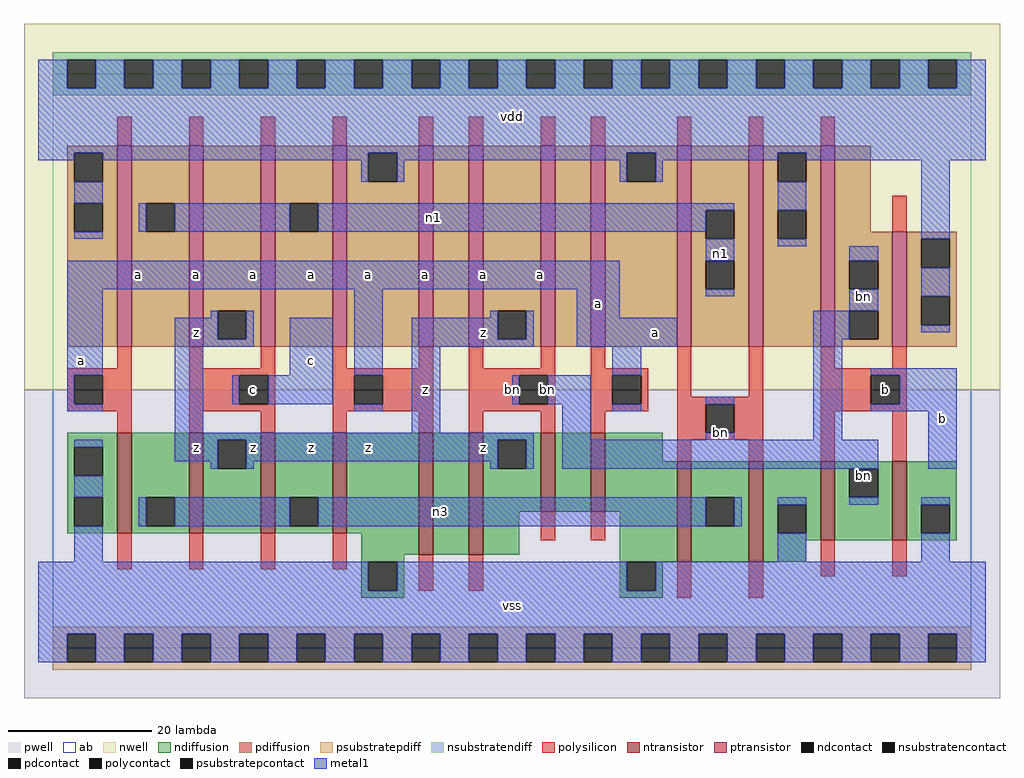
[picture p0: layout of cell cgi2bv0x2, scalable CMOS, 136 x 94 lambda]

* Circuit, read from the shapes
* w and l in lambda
.subckt cgi2bv0x2 a b bn c n1 n3 vdd vss z
M1 n3 a vss vss nfet w=14 l=2 m=2
M2 z c n3 vss nfet w=14 l=2 m=2
M3 n2 a vss vss nfet w=17 l=2
M4 z bn n2 vss nfet w=17 l=2
M5 n4 bn z vss nfet w=11 l=2
M6 vss a n4 vss nfet w=11 l=2
M7 n3 bn vss vss nfet w=14 l=2 m=2
M8 bn b vss vss nfet w=11 l=2 m=2
M9 n1 a vdd vdd pfet w=28 l=2 m=2
M10 z c n1 vdd pfet w=28 l=2 m=2
M11 n5 a vdd vdd pfet w=28 l=2
M12 z bn n5 vdd pfet w=28 l=2
M13 n6 bn z vdd pfet w=28 l=2
M14 vdd a n6 vdd pfet w=28 l=2
M15 n1 bn vdd vdd pfet w=28 l=2 m=2
M16 bn b vdd vdd pfet w=28 l=2
M17 vdd b bn vdd pfet w=16 l=2
.ends

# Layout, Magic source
magic
tech scmos
<< ab >>
rect 0 0 128 80
<< pwell >>
rect -4 -7 132 36
<< nwell >>
rect -4 36 132 87
<< polysilicon >>
rect 9 70 11 74
rect 19 70 21 74
rect 29 70 31 74
rect 39 70 41 74
rect 51 70 53 74
rect 58 70 60 74
rect 68 70 70 74
rect 75 70 77 74
rect 87 70 89 74
rect 97 70 99 74
rect 107 70 109 74
rect 117 58 119 63
rect 9 39 11 42
rect 2 38 11 39
rect 2 34 3 38
rect 7 34 11 38
rect 2 33 11 34
rect 9 30 11 33
rect 19 39 21 42
rect 29 39 31 42
rect 19 38 31 39
rect 19 34 26 38
rect 30 34 31 38
rect 19 33 31 34
rect 19 30 21 33
rect 29 30 31 33
rect 39 39 41 42
rect 51 39 53 42
rect 39 38 53 39
rect 39 34 42 38
rect 46 34 53 38
rect 39 33 53 34
rect 39 30 41 33
rect 51 30 53 33
rect 58 39 60 42
rect 68 39 70 42
rect 58 38 70 39
rect 58 34 65 38
rect 69 34 70 38
rect 58 33 70 34
rect 58 30 60 33
rect 68 30 70 33
rect 75 39 77 42
rect 75 38 83 39
rect 75 34 78 38
rect 82 34 83 38
rect 75 33 83 34
rect 87 35 89 42
rect 97 35 99 42
rect 87 34 99 35
rect 75 30 77 33
rect 87 30 91 34
rect 95 30 99 34
rect 9 11 11 16
rect 19 11 21 16
rect 29 11 31 16
rect 39 11 41 16
rect 87 29 99 30
rect 87 26 89 29
rect 97 26 99 29
rect 107 39 109 42
rect 117 39 119 42
rect 107 38 119 39
rect 107 34 114 38
rect 118 34 119 38
rect 107 33 119 34
rect 107 26 109 33
rect 117 26 119 33
rect 68 15 70 19
rect 75 15 77 19
rect 51 8 53 13
rect 58 8 60 13
rect 87 7 89 12
rect 97 7 99 12
rect 107 10 109 15
rect 117 10 119 15
<< ndiffusion >>
rect 2 28 9 30
rect 2 24 3 28
rect 7 24 9 28
rect 2 21 9 24
rect 2 17 3 21
rect 7 17 9 21
rect 2 16 9 17
rect 11 21 19 30
rect 11 17 13 21
rect 17 17 19 21
rect 11 16 19 17
rect 21 29 29 30
rect 21 25 23 29
rect 27 25 29 29
rect 21 16 29 25
rect 31 21 39 30
rect 31 17 33 21
rect 37 17 39 21
rect 31 16 39 17
rect 41 16 51 30
rect 43 13 51 16
rect 53 13 58 30
rect 60 29 68 30
rect 60 25 62 29
rect 66 25 68 29
rect 60 19 68 25
rect 70 19 75 30
rect 77 26 85 30
rect 77 19 87 26
rect 60 13 65 19
rect 43 12 49 13
rect 43 8 44 12
rect 48 8 49 12
rect 79 12 87 19
rect 89 21 97 26
rect 89 17 91 21
rect 95 17 97 21
rect 89 12 97 17
rect 99 20 107 26
rect 99 16 101 20
rect 105 16 107 20
rect 99 15 107 16
rect 109 25 117 26
rect 109 21 111 25
rect 115 21 117 25
rect 109 15 117 21
rect 119 20 126 26
rect 119 16 121 20
rect 125 16 126 20
rect 119 15 126 16
rect 99 12 105 15
rect 79 8 80 12
rect 84 8 85 12
rect 43 7 49 8
rect 79 7 85 8
<< pdiffusion >>
rect 2 69 9 70
rect 2 65 3 69
rect 7 65 9 69
rect 2 62 9 65
rect 2 58 3 62
rect 7 58 9 62
rect 2 42 9 58
rect 11 62 19 70
rect 11 58 13 62
rect 17 58 19 62
rect 11 42 19 58
rect 21 47 29 70
rect 21 43 23 47
rect 27 43 29 47
rect 21 42 29 43
rect 31 62 39 70
rect 31 58 33 62
rect 37 58 39 62
rect 31 42 39 58
rect 41 69 51 70
rect 41 65 44 69
rect 48 65 51 69
rect 41 42 51 65
rect 53 42 58 70
rect 60 47 68 70
rect 60 43 62 47
rect 66 43 68 47
rect 60 42 68 43
rect 70 42 75 70
rect 77 69 87 70
rect 77 65 80 69
rect 84 65 87 69
rect 77 42 87 65
rect 89 61 97 70
rect 89 57 91 61
rect 95 57 97 61
rect 89 54 97 57
rect 89 50 91 54
rect 95 50 97 54
rect 89 42 97 50
rect 99 69 107 70
rect 99 65 101 69
rect 105 65 107 69
rect 99 61 107 65
rect 99 57 101 61
rect 105 57 107 61
rect 99 42 107 57
rect 109 58 114 70
rect 109 54 117 58
rect 109 50 111 54
rect 115 50 117 54
rect 109 47 117 50
rect 109 43 111 47
rect 115 43 117 47
rect 109 42 117 43
rect 119 57 126 58
rect 119 53 121 57
rect 125 53 126 57
rect 119 49 126 53
rect 119 45 121 49
rect 125 45 126 49
rect 119 42 126 45
<< metal1 >>
rect -2 78 2 82
rect 6 78 10 82
rect 14 78 18 82
rect 22 78 26 82
rect 30 78 34 82
rect 38 78 42 82
rect 46 78 50 82
rect 54 78 58 82
rect 62 78 66 82
rect 70 78 74 82
rect 78 78 82 82
rect 86 78 90 82
rect 94 78 98 82
rect 102 78 106 82
rect 110 78 114 82
rect 118 78 122 82
rect 126 78 130 82
rect -2 69 130 78
rect -2 68 3 69
rect 7 68 44 69
rect 43 65 44 68
rect 48 68 80 69
rect 48 65 49 68
rect 79 65 80 68
rect 84 68 101 69
rect 84 65 85 68
rect 105 68 130 69
rect 3 62 7 65
rect 12 58 13 62
rect 17 58 33 62
rect 37 61 95 62
rect 37 58 91 61
rect 3 57 7 58
rect 91 54 95 57
rect 101 61 105 65
rect 101 56 105 57
rect 121 57 125 68
rect 2 50 79 54
rect 2 38 7 50
rect 22 46 23 47
rect 2 34 3 38
rect 2 33 7 34
rect 17 43 23 46
rect 27 43 28 47
rect 17 42 28 43
rect 17 30 21 42
rect 33 38 39 46
rect 25 34 26 38
rect 30 34 39 38
rect 42 38 46 50
rect 61 46 62 47
rect 42 33 46 34
rect 50 43 62 46
rect 66 43 67 47
rect 50 42 67 43
rect 73 46 79 50
rect 91 49 95 50
rect 111 54 115 56
rect 111 47 115 50
rect 73 42 87 46
rect 106 43 111 47
rect 121 49 125 53
rect 121 44 125 45
rect 50 30 54 42
rect 78 38 82 42
rect 64 34 65 38
rect 69 34 75 38
rect 17 29 67 30
rect 3 28 7 29
rect 17 26 23 29
rect 22 25 23 26
rect 27 26 62 29
rect 27 25 28 26
rect 61 25 62 26
rect 66 25 67 29
rect 71 29 75 34
rect 78 33 82 34
rect 91 34 95 35
rect 91 29 95 30
rect 106 29 110 43
rect 114 38 126 39
rect 118 34 126 38
rect 114 33 126 34
rect 71 25 115 29
rect 122 25 126 33
rect 3 21 7 24
rect 12 17 13 21
rect 17 17 33 21
rect 37 17 91 21
rect 95 17 96 21
rect 101 20 105 21
rect 111 20 115 21
rect 121 20 125 21
rect 3 12 7 17
rect 101 12 105 16
rect 121 12 125 16
rect -2 8 44 12
rect 48 8 80 12
rect 84 8 130 12
rect -2 2 130 8
rect -2 -2 2 2
rect 6 -2 10 2
rect 14 -2 18 2
rect 22 -2 26 2
rect 30 -2 34 2
rect 38 -2 42 2
rect 46 -2 50 2
rect 54 -2 58 2
rect 62 -2 66 2
rect 70 -2 74 2
rect 78 -2 82 2
rect 86 -2 90 2
rect 94 -2 98 2
rect 102 -2 106 2
rect 110 -2 114 2
rect 118 -2 122 2
rect 126 -2 130 2
<< ntransistor >>
rect 9 16 11 30
rect 19 16 21 30
rect 29 16 31 30
rect 39 16 41 30
rect 51 13 53 30
rect 58 13 60 30
rect 68 19 70 30
rect 75 19 77 30
rect 87 12 89 26
rect 97 12 99 26
rect 107 15 109 26
rect 117 15 119 26
<< ptransistor >>
rect 9 42 11 70
rect 19 42 21 70
rect 29 42 31 70
rect 39 42 41 70
rect 51 42 53 70
rect 58 42 60 70
rect 68 42 70 70
rect 75 42 77 70
rect 87 42 89 70
rect 97 42 99 70
rect 107 42 109 70
rect 117 42 119 58
<< polycontact >>
rect 3 34 7 38
rect 26 34 30 38
rect 42 34 46 38
rect 65 34 69 38
rect 78 34 82 38
rect 91 30 95 34
rect 114 34 118 38
<< ndcontact >>
rect 3 24 7 28
rect 3 17 7 21
rect 13 17 17 21
rect 23 25 27 29
rect 33 17 37 21
rect 62 25 66 29
rect 44 8 48 12
rect 91 17 95 21
rect 101 16 105 20
rect 111 21 115 25
rect 121 16 125 20
rect 80 8 84 12
<< pdcontact >>
rect 3 65 7 69
rect 3 58 7 62
rect 13 58 17 62
rect 23 43 27 47
rect 33 58 37 62
rect 44 65 48 69
rect 62 43 66 47
rect 80 65 84 69
rect 91 57 95 61
rect 91 50 95 54
rect 101 65 105 69
rect 101 57 105 61
rect 111 50 115 54
rect 111 43 115 47
rect 121 53 125 57
rect 121 45 125 49
<< psubstratepcontact >>
rect 2 -2 6 2
rect 10 -2 14 2
rect 18 -2 22 2
rect 26 -2 30 2
rect 34 -2 38 2
rect 42 -2 46 2
rect 50 -2 54 2
rect 58 -2 62 2
rect 66 -2 70 2
rect 74 -2 78 2
rect 82 -2 86 2
rect 90 -2 94 2
rect 98 -2 102 2
rect 106 -2 110 2
rect 114 -2 118 2
rect 122 -2 126 2
<< nsubstratencontact >>
rect 2 78 6 82
rect 10 78 14 82
rect 18 78 22 82
rect 26 78 30 82
rect 34 78 38 82
rect 42 78 46 82
rect 50 78 54 82
rect 58 78 62 82
rect 66 78 70 82
rect 74 78 78 82
rect 82 78 86 82
rect 90 78 94 82
rect 98 78 102 82
rect 106 78 110 82
rect 114 78 118 82
rect 122 78 126 82
<< psubstratepdiff >>
rect 0 2 128 3
rect 0 -2 2 2
rect 6 -2 10 2
rect 14 -2 18 2
rect 22 -2 26 2
rect 30 -2 34 2
rect 38 -2 42 2
rect 46 -2 50 2
rect 54 -2 58 2
rect 62 -2 66 2
rect 70 -2 74 2
rect 78 -2 82 2
rect 86 -2 90 2
rect 94 -2 98 2
rect 102 -2 106 2
rect 110 -2 114 2
rect 118 -2 122 2
rect 126 -2 128 2
rect 0 -3 128 -2
<< nsubstratendiff >>
rect 0 82 128 83
rect 0 78 2 82
rect 6 78 10 82
rect 14 78 18 82
rect 22 78 26 82
rect 30 78 34 82
rect 38 78 42 82
rect 46 78 50 82
rect 54 78 58 82
rect 62 78 66 82
rect 70 78 74 82
rect 78 78 82 82
rect 86 78 90 82
rect 94 78 98 82
rect 102 78 106 82
rect 110 78 114 82
rect 118 78 122 82
rect 126 78 128 82
rect 0 77 128 78
<< labels >>
rlabel polysilicon 64 36 64 36 6 bn
rlabel metal1 20 28 20 28 6 z
rlabel metal1 20 44 20 44 6 z
rlabel metal1 4 40 4 40 6 a
rlabel metal1 12 52 12 52 6 a
rlabel metal1 20 52 20 52 6 a
rlabel metal1 28 28 28 28 6 z
rlabel metal1 36 28 36 28 6 z
rlabel metal1 44 28 44 28 6 z
rlabel polycontact 28 36 28 36 6 c
rlabel metal1 36 40 36 40 6 c
rlabel metal1 28 52 28 52 6 a
rlabel metal1 36 52 36 52 6 a
rlabel metal1 44 52 44 52 6 a
rlabel metal1 64 6 64 6 6 vss
rlabel metal1 60 28 60 28 6 z
rlabel metal1 52 36 52 36 6 z
rlabel metal1 69 36 69 36 6 bn
rlabel metal1 60 44 60 44 6 z
rlabel metal1 60 52 60 52 6 a
rlabel metal1 68 52 68 52 6 a
rlabel metal1 52 52 52 52 6 a
rlabel metal1 64 74 64 74 6 vdd
rlabel metal1 54 19 54 19 6 n3
rlabel metal1 93 30 93 30 6 bn
rlabel metal1 84 44 84 44 6 a
rlabel metal1 93 55 93 55 6 n1
rlabel metal1 76 48 76 48 6 a
rlabel metal1 53 60 53 60 6 n1
rlabel ndcontact 113 24 113 24 6 bn
rlabel metal1 124 32 124 32 6 b
rlabel polycontact 116 36 116 36 6 b
rlabel metal1 113 49 113 49 6 bn
<< end >>
